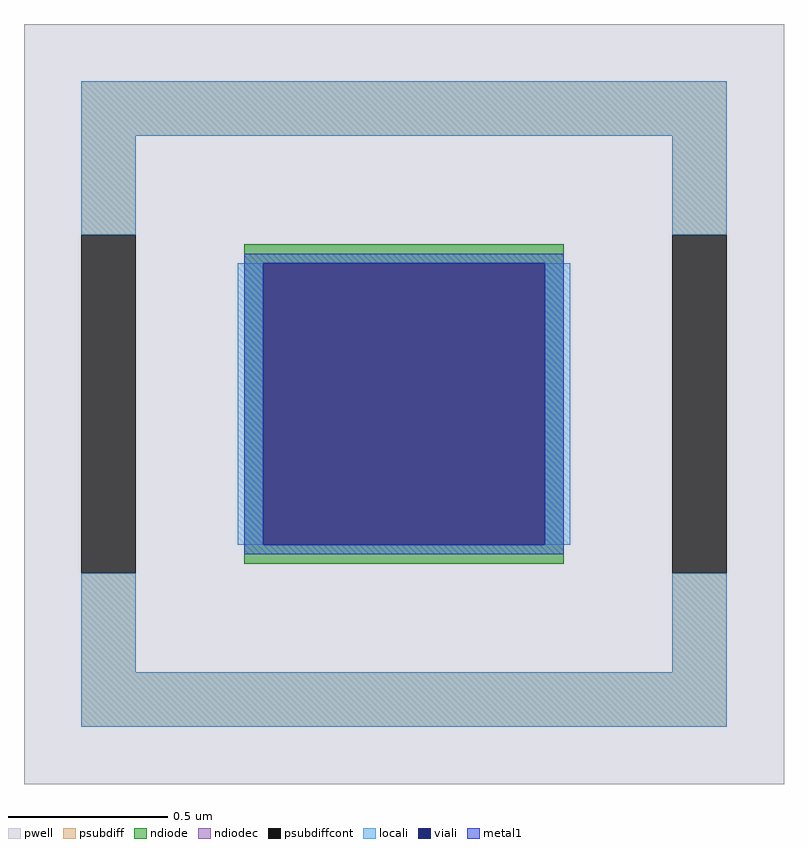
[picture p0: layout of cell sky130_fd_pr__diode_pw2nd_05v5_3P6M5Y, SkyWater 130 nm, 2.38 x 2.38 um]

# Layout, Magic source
magic
tech sky130A
<< pwell >>
rect -119 -119 119 119
<< psubdiff >>
rect -101 84 101 101
rect -101 53 -84 84
rect 84 53 101 84
rect -101 -84 -84 -53
rect 84 -84 101 -53
rect -101 -101 101 -84
<< psubdiffcont >>
rect -101 -53 -84 53
rect 84 -53 101 53
<< ndiode >>
rect -50 44 50 50
rect -50 -44 -44 44
rect 44 -44 50 44
rect -50 -50 50 -44
<< ndiodec >>
rect -44 -44 44 44
<< locali >>
rect -101 84 101 101
rect -101 53 -84 84
rect 84 53 101 84
rect -52 -44 -44 44
rect 44 -44 52 44
rect -101 -84 -84 -53
rect 84 -84 101 -53
rect -101 -101 101 -84
<< viali >>
rect -44 -44 44 44
<< metal1 >>
rect -50 44 50 47
rect -50 -44 -44 44
rect 44 -44 50 44
rect -50 -47 50 -44
<< properties >>
string FIXED_BBOX -92 -92 92 92
string gencell sky130_fd_pr__diode_pw2nd_05v5
string library sky130
string parameters w 1 l 1 area 1.0 peri 4.0 nx 1 ny 1 dummy 0 lmin 0.45 wmin 0.45 elc 1 erc 1 etc 0 ebc 0 doverlap 0 compatible {sky130_fd_pr__diode_pw2nd_05v5 sky130_fd_pr__diode_pw2nd_05v5_lvt  sky130_fd_pr__diode_pw2nd_05v5_nvt sky130_fd_pr__diode_pw2nd_11v0} full_metal 1 vias 1 viagb 0 viagt 0 viagl 0 viagr 0
<< end >>
